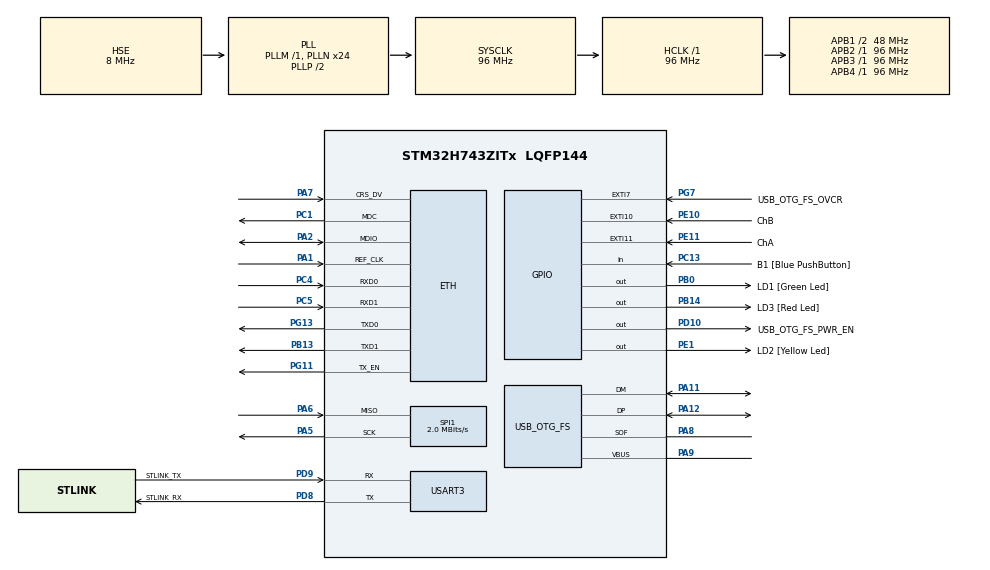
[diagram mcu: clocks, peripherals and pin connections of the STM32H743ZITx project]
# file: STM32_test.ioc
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Dma.Request0=SPI1_RX
Dma.SPI1_RX.0.Direction=DMA_PERIPH_TO_MEMORY
Dma.SPI1_RX.0.EventEnable=DISABLE
Dma.SPI1_RX.0.FIFOMode=DMA_FIFOMODE_ENABLE
Dma.SPI1_RX.0.FIFOThreshold=DMA_FIFO_THRESHOLD_FULL
Dma.SPI1_RX.0.Instance=DMA1_Stream0
Dma.SPI1_RX.0.MemBurst=DMA_MBURST_SINGLE
Dma.SPI1_RX.0.MemDataAlignment=DMA_MDATAALIGN_WORD
Dma.SPI1_RX.0.MemInc=DMA_MINC_ENABLE
Dma.SPI1_RX.0.Mode=DMA_NORMAL
Dma.SPI1_RX.0.PeriphBurst=DMA_PBURST_SINGLE
Dma.SPI1_RX.0.PeriphDataAlignment=DMA_PDATAALIGN_WORD
Dma.SPI1_RX.0.PeriphInc=DMA_PINC_DISABLE
Dma.SPI1_RX.0.Polarity=HAL_DMAMUX_REQ_GEN_RISING
Dma.SPI1_RX.0.Priority=DMA_PRIORITY_HIGH
Dma.SPI1_RX.0.RequestNumber=1
Dma.SPI1_RX.0.SignalID=NONE
Dma.SPI1_RX.0.SyncEnable=DISABLE
Dma.SPI1_RX.0.SyncPolarity=HAL_DMAMUX_SYNC_NO_EVENT
Dma.SPI1_RX.0.SyncRequestNumber=1
Dma.SPI1_RX.0.SyncSignalID=NONE
ETH.MediaInterface=HAL_ETH_RMII_MODE
Mcu.Family=STM32H7
Mcu.Name=STM32H743ZITx
Mcu.Package=LQFP144
NVIC.DMA1_Stream0_IRQn=true\:0\:0\:false\:false\:true\:false\:true\:true
NVIC.ETH_IRQn=true\:0\:0\:false\:false\:true\:true\:true\:true
NVIC.EXTI15_10_IRQn=true\:0\:0\:false\:false\:true\:true\:true\:true
NVIC.PriorityGroup=NVIC_PRIORITYGROUP_3
NVIC.RCC_IRQn=true\:0\:0\:false\:false\:true\:true\:false\:true
NVIC.SPI1_IRQn=true\:0\:0\:false\:false\:true\:false\:true\:true
PA1.Mode=RMII
PA1.Signal=ETH_REF_CLK
PA11.Mode=Device_Only
PA11.Signal=USB_OTG_FS_DM
PA12.Mode=Device_Only
PA12.Signal=USB_OTG_FS_DP
PA2.Mode=RMII
PA2.Signal=ETH_MDIO
PA5.Mode=RX_Only_Simplex_Unidirect_Master
PA5.Signal=SPI1_SCK
PA6.Mode=RX_Only_Simplex_Unidirect_Master
PA6.Signal=SPI1_MISO
PA7.Mode=RMII
PA7.Signal=ETH_CRS_DV
PA8.Mode=Activate_SOF_FS
PA8.Signal=USB_OTG_FS_SOF
PA9.Mode=Activate_VBUS
PA9.Signal=USB_OTG_FS_VBUS
PB0.GPIO_Label=LD1 [Green Led]
PB0.Signal=GPIO_Output
PB13.Mode=RMII
PB13.Signal=ETH_TXD1
PB14.GPIO_Label=LD3 [Red Led]
PB14.Signal=GPIO_Output
PC1.Mode=RMII
PC1.Signal=ETH_MDC
PC13.GPIO_Label=B1 [Blue PushButton]
PC13.Signal=GPIO_Input
PC14-OSC32_IN\ (OSC32_IN).Mode=LSE-External-Oscillator
PC14-OSC32_IN\ (OSC32_IN).Signal=RCC_OSC32_IN
PC15-OSC32_OUT\ (OSC32_OUT).Mode=LSE-External-Oscillator
PC15-OSC32_OUT\ (OSC32_OUT).Signal=RCC_OSC32_OUT
PC4.Mode=RMII
PC4.Signal=ETH_RXD0
PC5.Mode=RMII
PC5.Signal=ETH_RXD1
PD10.GPIO_Label=USB_OTG_FS_PWR_EN
PD10.Signal=GPIO_Output
PD8.GPIO_Label=STLINK_RX
PD8.Mode=Asynchronous
PD8.Signal=USART3_TX
PD9.GPIO_Label=STLINK_TX
PD9.Mode=Asynchronous
PD9.Signal=USART3_RX
PE1.GPIO_Label=LD2 [Yellow Led]
PE1.Signal=GPIO_Output
PE10.GPIO_Label=ChB
PE10.GPIO_ModeDefaultEXTI=GPIO_MODE_IT_RISING_FALLING
PE10.GPIO_PuPd=GPIO_PULLUP
PE10.Signal=GPXTI10
PE11.GPIO_Label=ChA
PE11.GPIO_ModeDefaultEXTI=GPIO_MODE_IT_RISING_FALLING
PE11.GPIO_PuPd=GPIO_PULLUP
PE11.Signal=GPXTI11
PG11.Mode=RMII
PG11.Signal=ETH_TX_EN
PG13.Mode=RMII
PG13.Signal=ETH_TXD0
PG7.GPIO_Label=USB_OTG_FS_OVCR
PG7.Signal=GPXTI7
PH0-OSC_IN\ (PH0).Mode=HSE-External-Clock-Source
PH0-OSC_IN\ (PH0).Signal=RCC_OSC_IN
PH1-OSC_OUT\ (PH1).Signal=RCC_OSC_OUT
ProjectManager.HeapSize=0x200
ProjectManager.StackSize=0x400
ProjectManager.TargetToolchain=STM32CubeIDE
RCC.ADCFreq_Value=16125000
RCC.APB1Freq_Value=48000000
RCC.APB2Freq_Value=96000000
RCC.APB3Freq_Value=96000000
RCC.APB4Freq_Value=96000000
RCC.CortexFreq_Value=12000000
RCC.Cortex_Div=SYSTICK_CLKSOURCE_HCLK_DIV8
RCC.D2PPRE1=RCC_APB1_DIV2
RCC.DIVM1=1
RCC.DIVN1=24
RCC.DIVQ1=4
RCC.HCLKFreq_Value=96000000
RCC.HSE_VALUE=8000000
RCC.PLLFRACN=0
RCC.PWR_Regulator_Voltage_Scale=PWR_REGULATOR_VOLTAGE_SCALE2
RCC.SPI123CLockSelection=RCC_SPI123CLKSOURCE_CLKP
RCC.SYSCLKFreq_VALUE=96000000
RCC.SYSCLKSource=RCC_SYSCLKSOURCE_PLLCLK
RCC.USBFreq_Value=48000000
SPI1.BaudRatePrescaler=SPI_BAUDRATEPRESCALER_32
SPI1.CalculateBaudRate=2.0 MBits/s
SPI1.DataSize=SPI_DATASIZE_16BIT
SPI1.Direction=SPI_DIRECTION_2LINES_RXONLY
SPI1.Mode=SPI_MODE_MASTER
SPI1.VirtualType=VM_MASTER
USART3.VirtualMode-Asynchronous=VM_ASYNC
USB_OTG_FS.VirtualMode=Device_Only
board=NUCLEO-H743ZI2

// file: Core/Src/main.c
/* USER CODE BEGIN Header */
/**
  ******************************************************************************
  * @file           : main.c
  * @brief          : Main program body
  ******************************************************************************
  * @attention
  *
  * Copyright (c) 2022 STMicroelectronics.
  * All rights reserved.
  *
  * This software is licensed under terms that can be found in the LICENSE file
  * in the root directory of this software component.
  * If no LICENSE file comes with this software, it is provided AS-IS.
  *
  ******************************************************************************
  */
/* USER CODE END Header */
#include "main.h"
#include "string.h"

/* USER CODE BEGIN Includes */
#include<stdio.h>
/* USER CODE END Includes */

/* USER CODE BEGIN PM */
#define BUFFER_SIZE 25
/* USER CODE END PM */

#if defined ( __ICCARM__ ) /*!< IAR Compiler */
#pragma location=0x30000000
ETH_DMADescTypeDef  DMARxDscrTab[ETH_RX_DESC_CNT]; /* Ethernet Rx DMA Descriptors */
#pragma location=0x30000200
ETH_DMADescTypeDef  DMATxDscrTab[ETH_TX_DESC_CNT]; /* Ethernet Tx DMA Descriptors */
#pragma location=0x30000260
uint8_t Rx_Buff[ETH_RX_DESC_CNT][ETH_MAX_PACKET_SIZE]; /* Ethernet Receive Buffers */

#elif defined ( __CC_ARM )  /* MDK ARM Compiler */

__attribute__((at(0x30000000))) ETH_DMADescTypeDef  DMARxDscrTab[ETH_RX_DESC_CNT]; /* Ethernet Rx DMA Descriptors */
__attribute__((at(0x30000200))) ETH_DMADescTypeDef  DMATxDscrTab[ETH_TX_DESC_CNT]; /* Ethernet Tx DMA Descriptors */
__attribute__((at(0x30000260))) uint8_t Rx_Buff[ETH_RX_DESC_CNT][ETH_MAX_PACKET_SIZE]; /* Ethernet Receive Buffer */

#elif defined ( __GNUC__ ) /* GNU Compiler */
ETH_DMADescTypeDef DMARxDscrTab[ETH_RX_DESC_CNT] __attribute__((section(".RxDecripSection"))); /* Ethernet Rx DMA Descriptors */
ETH_DMADescTypeDef DMATxDscrTab[ETH_TX_DESC_CNT] __attribute__((section(".TxDecripSection")));   /* Ethernet Tx DMA Descriptors */
uint8_t Rx_Buff[ETH_RX_DESC_CNT][ETH_MAX_PACKET_SIZE] __attribute__((section(".RxArraySection"))); /* Ethernet Receive Buffers */
#endif

ETH_TxPacketConfig TxConfig;

ETH_HandleTypeDef heth;

SPI_HandleTypeDef hspi1;
DMA_HandleTypeDef hdma_spi1_rx;

UART_HandleTypeDef huart3;

PCD_HandleTypeDef hpcd_USB_OTG_FS;

/* USER CODE BEGIN PV */
int enc_ctr = 0;
uint8_t MSG[35] = {'\0'};
uint8_t WOR[35] = {'\0'};
uint8_t pData[BUFFER_SIZE];
uint8_t worked = 0;
/* USER CODE END PV */

void SystemClock_Config(void);
void PeriphCommonClock_Config(void);
static void MX_GPIO_Init(void);
static void MX_ETH_Init(void);
static void MX_DMA_Init(void);
static void MX_USB_OTG_FS_PCD_Init(void);
static void MX_SPI1_Init(void);
static void MX_USART3_UART_Init(void);

/* USER CODE BEGIN 0 */
void HAL_SPI_RxCpltCallback(SPI_HandleTypeDef * hspi)
{
    HAL_SPI_Receive_DMA(&hspi1, pData, BUFFER_SIZE);
    HAL_UART_Transmit_IT(&huart3, pData, BUFFER_SIZE);
    worked = 1;
}
/* USER CODE END 0 */

int main(void)
{

  /* MCU Configuration--------------------------------------------------------*/

  /* Reset of all peripherals, Initializes the Flash interface and the Systick. */
  HAL_Init();

  /* Configure the system clock */
  SystemClock_Config();

/* Configure the peripherals common clocks */
  PeriphCommonClock_Config();

  /* Initialize all configured peripherals */
  MX_GPIO_Init();
  MX_ETH_Init();
  MX_DMA_Init();
  MX_USB_OTG_FS_PCD_Init();
  MX_SPI1_Init();
  MX_USART3_UART_Init();
  /* USER CODE BEGIN 2 */
  HAL_SPI_Receive_DMA(&hspi1, pData, BUFFER_SIZE);
  /* USER CODE END 2 */

  /* Infinite loop */
  /* USER CODE BEGIN WHILE */
  while (1)
  {
	  sprintf(MSG, "Encoder Counter = %d\n\r", enc_ctr);
	  HAL_UART_Transmit(&huart3, MSG, sizeof(MSG), BUFFER_SIZE);
	  HAL_Delay(500);
	  if(worked){
//		  sprintf(WOR, "Worked at %f\n\r", HAL_GetTick()/1000.0);
		  sprintf(WOR, "Worked");
		  HAL_UART_Transmit(&huart3, WOR, sizeof(WOR), BUFFER_SIZE);
		  worked = 0;
	  }
    /* USER CODE END WHILE */

  }
}

void SystemClock_Config(void)
{
  RCC_OscInitTypeDef RCC_OscInitStruct = {0};
  RCC_ClkInitTypeDef RCC_ClkInitStruct = {0};

  /** Supply configuration update enable
  */
  HAL_PWREx_ConfigSupply(PWR_LDO_SUPPLY);

  /** Configure the main internal regulator output voltage
  */
  __HAL_PWR_VOLTAGESCALING_CONFIG(PWR_REGULATOR_VOLTAGE_SCALE2);

  while(!__HAL_PWR_GET_FLAG(PWR_FLAG_VOSRDY)) {}

  /** Initializes the RCC Oscillators according to the specified parameters
  * in the RCC_OscInitTypeDef structure.
  */
  RCC_OscInitStruct.OscillatorType = RCC_OSCILLATORTYPE_HSI|RCC_OSCILLATORTYPE_HSE;
  RCC_OscInitStruct.HSEState = RCC_HSE_BYPASS;
  RCC_OscInitStruct.HSIState = RCC_HSI_DIV1;
  RCC_OscInitStruct.HSICalibrationValue = RCC_HSICALIBRATION_DEFAULT;
  RCC_OscInitStruct.PLL.PLLState = RCC_PLL_ON;
  RCC_OscInitStruct.PLL.PLLSource = RCC_PLLSOURCE_HSE;
  RCC_OscInitStruct.PLL.PLLM = 1;
  RCC_OscInitStruct.PLL.PLLN = 24;
  RCC_OscInitStruct.PLL.PLLP = 2;
  RCC_OscInitStruct.PLL.PLLQ = 4;
  RCC_OscInitStruct.PLL.PLLR = 2;
  RCC_OscInitStruct.PLL.PLLRGE = RCC_PLL1VCIRANGE_3;
  RCC_OscInitStruct.PLL.PLLVCOSEL = RCC_PLL1VCOWIDE;
  RCC_OscInitStruct.PLL.PLLFRACN = 0;
  if (HAL_RCC_OscConfig(&RCC_OscInitStruct) != HAL_OK)
  {
    Error_Handler();
  }

  /** Initializes the CPU, AHB and APB buses clocks
  */
  RCC_ClkInitStruct.ClockType = RCC_CLOCKTYPE_HCLK|RCC_CLOCKTYPE_SYSCLK
                              |RCC_CLOCKTYPE_PCLK1|RCC_CLOCKTYPE_PCLK2
                              |RCC_CLOCKTYPE_D3PCLK1|RCC_CLOCKTYPE_D1PCLK1;
  RCC_ClkInitStruct.SYSCLKSource = RCC_SYSCLKSOURCE_PLLCLK;
  RCC_ClkInitStruct.SYSCLKDivider = RCC_SYSCLK_DIV1;
  RCC_ClkInitStruct.AHBCLKDivider = RCC_HCLK_DIV1;
  RCC_ClkInitStruct.APB3CLKDivider = RCC_APB3_DIV1;
  RCC_ClkInitStruct.APB1CLKDivider = RCC_APB1_DIV2;
  RCC_ClkInitStruct.APB2CLKDivider = RCC_APB2_DIV1;
  RCC_ClkInitStruct.APB4CLKDivider = RCC_APB4_DIV1;

  if (HAL_RCC_ClockConfig(&RCC_ClkInitStruct, FLASH_LATENCY_1) != HAL_OK)
  {
    Error_Handler();
  }
}

void PeriphCommonClock_Config(void)
{
  RCC_PeriphCLKInitTypeDef PeriphClkInitStruct = {0};

  /** Initializes the peripherals clock
  */
  PeriphClkInitStruct.PeriphClockSelection = RCC_PERIPHCLK_CKPER;
  PeriphClkInitStruct.CkperClockSelection = RCC_CLKPSOURCE_HSI;
  if (HAL_RCCEx_PeriphCLKConfig(&PeriphClkInitStruct) != HAL_OK)
  {
    Error_Handler();
  }
}

static void MX_ETH_Init(void)
{

   static uint8_t MACAddr[6];

  heth.Instance = ETH;
  MACAddr[0] = 0x00;
  MACAddr[1] = 0x80;
  MACAddr[2] = 0xE1;
  MACAddr[3] = 0x00;
  MACAddr[4] = 0x00;
  MACAddr[5] = 0x00;
  heth.Init.MACAddr = &MACAddr[0];
  heth.Init.MediaInterface = HAL_ETH_RMII_MODE;
  heth.Init.TxDesc = DMATxDscrTab;
  heth.Init.RxDesc = DMARxDscrTab;
  heth.Init.RxBuffLen = 1524;

  if (HAL_ETH_Init(&heth) != HAL_OK)
  {
    Error_Handler();
  }

  memset(&TxConfig, 0 , sizeof(ETH_TxPacketConfig));
  TxConfig.Attributes = ETH_TX_PACKETS_FEATURES_CSUM | ETH_TX_PACKETS_FEATURES_CRCPAD;
  TxConfig.ChecksumCtrl = ETH_CHECKSUM_IPHDR_PAYLOAD_INSERT_PHDR_CALC;
  TxConfig.CRCPadCtrl = ETH_CRC_PAD_INSERT;

}

static void MX_SPI1_Init(void)
{

  /* SPI1 parameter configuration*/
  hspi1.Instance = SPI1;
  hspi1.Init.Mode = SPI_MODE_MASTER;
  hspi1.Init.Direction = SPI_DIRECTION_2LINES_RXONLY;
  hspi1.Init.DataSize = SPI_DATASIZE_16BIT;
  hspi1.Init.CLKPolarity = SPI_POLARITY_LOW;
  hspi1.Init.CLKPhase = SPI_PHASE_1EDGE;
  hspi1.Init.NSS = SPI_NSS_SOFT;
  hspi1.Init.BaudRatePrescaler = SPI_BAUDRATEPRESCALER_32;
  hspi1.Init.FirstBit = SPI_FIRSTBIT_MSB;
  hspi1.Init.TIMode = SPI_TIMODE_DISABLE;
  hspi1.Init.CRCCalculation = SPI_CRCCALCULATION_DISABLE;
  hspi1.Init.CRCPolynomial = 0x0;
  hspi1.Init.NSSPMode = SPI_NSS_PULSE_ENABLE;
  hspi1.Init.NSSPolarity = SPI_NSS_POLARITY_LOW;
  hspi1.Init.FifoThreshold = SPI_FIFO_THRESHOLD_01DATA;
  hspi1.Init.TxCRCInitializationPattern = SPI_CRC_INITIALIZATION_ALL_ZERO_PATTERN;
  hspi1.Init.RxCRCInitializationPattern = SPI_CRC_INITIALIZATION_ALL_ZERO_PATTERN;
  hspi1.Init.MasterSSIdleness = SPI_MASTER_SS_IDLENESS_00CYCLE;
  hspi1.Init.MasterInterDataIdleness = SPI_MASTER_INTERDATA_IDLENESS_00CYCLE;
  hspi1.Init.MasterReceiverAutoSusp = SPI_MASTER_RX_AUTOSUSP_DISABLE;
  hspi1.Init.MasterKeepIOState = SPI_MASTER_KEEP_IO_STATE_DISABLE;
  hspi1.Init.IOSwap = SPI_IO_SWAP_DISABLE;
  if (HAL_SPI_Init(&hspi1) != HAL_OK)
  {
    Error_Handler();
  }

}

static void MX_USART3_UART_Init(void)
{

  huart3.Instance = USART3;
  huart3.Init.BaudRate = 115200;
  huart3.Init.WordLength = UART_WORDLENGTH_8B;
  huart3.Init.StopBits = UART_STOPBITS_1;
  huart3.Init.Parity = UART_PARITY_NONE;
  huart3.Init.Mode = UART_MODE_TX_RX;
  huart3.Init.HwFlowCtl = UART_HWCONTROL_NONE;
  huart3.Init.OverSampling = UART_OVERSAMPLING_16;
  huart3.Init.OneBitSampling = UART_ONE_BIT_SAMPLE_DISABLE;
  huart3.Init.ClockPrescaler = UART_PRESCALER_DIV1;
  huart3.AdvancedInit.AdvFeatureInit = UART_ADVFEATURE_NO_INIT;
  if (HAL_UART_Init(&huart3) != HAL_OK)
  {
    Error_Handler();
  }
  if (HAL_UARTEx_SetTxFifoThreshold(&huart3, UART_TXFIFO_THRESHOLD_1_8) != HAL_OK)
  {
    Error_Handler();
  }
  if (HAL_UARTEx_SetRxFifoThreshold(&huart3, UART_RXFIFO_THRESHOLD_1_8) != HAL_OK)
  {
    Error_Handler();
  }
  if (HAL_UARTEx_DisableFifoMode(&huart3) != HAL_OK)
  {
    Error_Handler();
  }

}

static void MX_USB_OTG_FS_PCD_Init(void)
{

  hpcd_USB_OTG_FS.Instance = USB_OTG_FS;
  hpcd_USB_OTG_FS.Init.dev_endpoints = 9;
  hpcd_USB_OTG_FS.Init.speed = PCD_SPEED_FULL;
  hpcd_USB_OTG_FS.Init.dma_enable = DISABLE;
  hpcd_USB_OTG_FS.Init.phy_itface = PCD_PHY_EMBEDDED;
  hpcd_USB_OTG_FS.Init.Sof_enable = ENABLE;
  hpcd_USB_OTG_FS.Init.low_power_enable = DISABLE;
  hpcd_USB_OTG_FS.Init.lpm_enable = DISABLE;
  hpcd_USB_OTG_FS.Init.battery_charging_enable = ENABLE;
  hpcd_USB_OTG_FS.Init.vbus_sensing_enable = ENABLE;
  hpcd_USB_OTG_FS.Init.use_dedicated_ep1 = DISABLE;
  if (HAL_PCD_Init(&hpcd_USB_OTG_FS) != HAL_OK)
  {
    Error_Handler();
  }

}

static void MX_DMA_Init(void)
{

  /* DMA controller clock enable */
  __HAL_RCC_DMA1_CLK_ENABLE();

  /* DMA interrupt init */
  /* DMA1_Stream0_IRQn interrupt configuration */
  HAL_NVIC_SetPriority(DMA1_Stream0_IRQn, 0, 0);
  HAL_NVIC_EnableIRQ(DMA1_Stream0_IRQn);

}

static void MX_GPIO_Init(void)
{
  GPIO_InitTypeDef GPIO_InitStruct = {0};

  /* GPIO Ports Clock Enable */
  __HAL_RCC_GPIOC_CLK_ENABLE();
  __HAL_RCC_GPIOH_CLK_ENABLE();
  __HAL_RCC_GPIOA_CLK_ENABLE();
  __HAL_RCC_GPIOB_CLK_ENABLE();
  __HAL_RCC_GPIOE_CLK_ENABLE();
  __HAL_RCC_GPIOD_CLK_ENABLE();
  __HAL_RCC_GPIOG_CLK_ENABLE();

  /*Configure GPIO pin Output Level */
  HAL_GPIO_WritePin(GPIOB, LD1_Pin|LD3_Pin, GPIO_PIN_RESET);

  /*Configure GPIO pin Output Level */
  HAL_GPIO_WritePin(USB_OTG_FS_PWR_EN_GPIO_Port, USB_OTG_FS_PWR_EN_Pin, GPIO_PIN_RESET);

  /*Configure GPIO pin Output Level */
  HAL_GPIO_WritePin(LD2_GPIO_Port, LD2_Pin, GPIO_PIN_RESET);

  /*Configure GPIO pin : B1_Pin */
  GPIO_InitStruct.Pin = B1_Pin;
  GPIO_InitStruct.Mode = GPIO_MODE_INPUT;
  GPIO_InitStruct.Pull = GPIO_NOPULL;
  HAL_GPIO_Init(B1_GPIO_Port, &GPIO_InitStruct);

  /*Configure GPIO pins : LD1_Pin LD3_Pin */
  GPIO_InitStruct.Pin = LD1_Pin|LD3_Pin;
  GPIO_InitStruct.Mode = GPIO_MODE_OUTPUT_PP;
  GPIO_InitStruct.Pull = GPIO_NOPULL;
  GPIO_InitStruct.Speed = GPIO_SPEED_FREQ_LOW;
  HAL_GPIO_Init(GPIOB, &GPIO_InitStruct);

  /*Configure GPIO pins : ChB_Pin ChA_Pin */
  GPIO_InitStruct.Pin = ChB_Pin|ChA_Pin;
  GPIO_InitStruct.Mode = GPIO_MODE_IT_RISING_FALLING;
  GPIO_InitStruct.Pull = GPIO_PULLUP;
  HAL_GPIO_Init(GPIOE, &GPIO_InitStruct);

  /*Configure GPIO pin : USB_OTG_FS_PWR_EN_Pin */
  GPIO_InitStruct.Pin = USB_OTG_FS_PWR_EN_Pin;
  GPIO_InitStruct.Mode = GPIO_MODE_OUTPUT_PP;
  GPIO_InitStruct.Pull = GPIO_NOPULL;
  GPIO_InitStruct.Speed = GPIO_SPEED_FREQ_LOW;
  HAL_GPIO_Init(USB_OTG_FS_PWR_EN_GPIO_Port, &GPIO_InitStruct);

  /*Configure GPIO pin : USB_OTG_FS_OVCR_Pin */
  GPIO_InitStruct.Pin = USB_OTG_FS_OVCR_Pin;
  GPIO_InitStruct.Mode = GPIO_MODE_IT_RISING;
  GPIO_InitStruct.Pull = GPIO_NOPULL;
  HAL_GPIO_Init(USB_OTG_FS_OVCR_GPIO_Port, &GPIO_InitStruct);

  /*Configure GPIO pin : LD2_Pin */
  GPIO_InitStruct.Pin = LD2_Pin;
  GPIO_InitStruct.Mode = GPIO_MODE_OUTPUT_PP;
  GPIO_InitStruct.Pull = GPIO_NOPULL;
  GPIO_InitStruct.Speed = GPIO_SPEED_FREQ_LOW;
  HAL_GPIO_Init(LD2_GPIO_Port, &GPIO_InitStruct);

  /* EXTI interrupt init*/
  HAL_NVIC_SetPriority(EXTI15_10_IRQn, 0, 0);
  HAL_NVIC_EnableIRQ(EXTI15_10_IRQn);

}

void Error_Handler(void)
{
  __disable_irq();
  while (1)
  {
  }
}
